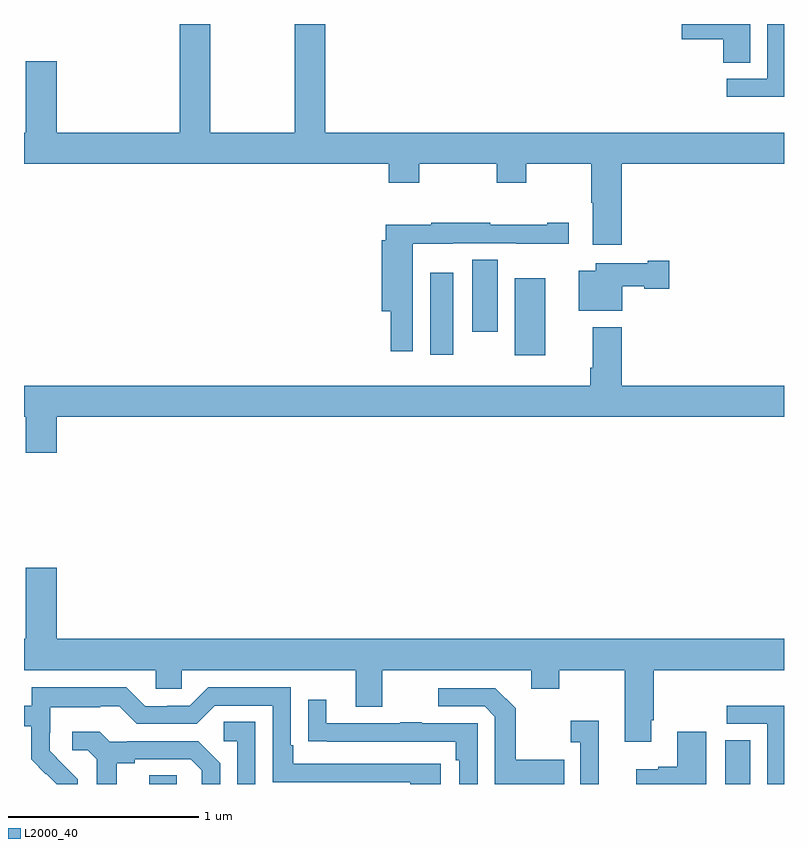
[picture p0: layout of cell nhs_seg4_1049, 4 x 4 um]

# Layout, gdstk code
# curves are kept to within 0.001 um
import gdstk
lib = gdstk.Library(unit=1e-6, precision=1e-09)
def R(c, l, rs):  # rectangles x0, y0, x1, y1
    for r in rs: c.add(gdstk.rectangle(r[:2], r[2:], *l))
def P(c, l, *ps):  # polygons
    for p in ps: c.add(gdstk.Polygon(p, *l))
L2000_40 = (2000, 40)

nhs_seg4_1049 = lib.new_cell('nhs_seg4_1049')
R(nhs_seg4_1049, L2000_40, [(165.659,782.9,165.804,782.945), (168.692,782.9,168.823,783.131), (167.582,785.157,167.743,785.563), (167.138,785.16,167.26,785.59), (167.36,785.28,167.494,785.66)])
P(nhs_seg4_1049, L2000_40, [(168.146,786.164),(169,786.164),(169,786.328),(166.586,786.328),(166.586,786.9),(166.426,786.9),(166.426,786.328),(165.981,786.328),(165.981,786.9),(165.821,786.9),(165.821,786.328),(165.172,786.328),(165.172,786.703),(165.008,786.703),(165.008,786.328),(165,786.328),(165,786.164),(166.919,786.164),(166.919,786.065),(167.079,786.065),(167.079,786.164),(167.488,786.164),(167.488,786.065),(167.643,786.065),(167.643,786.164),(167.986,786.164),(167.986,785.96),(167.993,785.96),(167.993,785.739),(168.146,785.739)],
  [(169,786.9),(168.912,786.9),(168.912,786.612),(168.699,786.612),(168.699,786.516),(169,786.516)],
  [(168.823,786.9),(168.462,786.9),(168.462,786.821),(168.68,786.821),(168.68,786.697),(168.823,786.697)],
  [(167.046,785.744),(167.256,785.744),(167.256,785.745),(167.59,785.745),(167.59,785.744),(167.866,785.744),(167.866,785.854),(167.753,785.854),(167.753,785.844),(167.453,785.844),(167.453,785.854),(167.143,785.854),(167.143,785.844),(166.904,785.844),(166.904,785.763),(166.883,785.763),(166.883,785.387),(166.93,785.387),(166.93,785.178),(167.046,785.178)],
  [(168.148,785.519),(168.264,785.519),(168.264,785.507),(168.397,785.507),(168.397,785.654),(168.284,785.654),(168.284,785.641),(168.008,785.641),(168.008,785.602),(167.921,785.602),(167.921,785.39),(168.148,785.39)],
  [(165.172,784.832),(169,784.832),(169,784.996),(168.146,784.996),(168.146,785.305),(167.993,785.305),(167.993,785.092),(167.981,785.092),(167.981,784.996),(165,784.996),(165,784.832),(165.008,784.832),(165.008,784.644),(165.172,784.644)],
  [(168.301,783.235),(168.314,783.235),(168.314,783.5),(169,783.5),(169,783.664),(165.172,783.664),(165.172,784.039),(165.008,784.039),(165.008,783.664),(165,783.664),(165,783.5),(165.693,783.5),(165.693,783.402),(165.831,783.402),(165.831,783.5),(166.745,783.5),(166.745,783.306),(166.885,783.306),(166.885,783.5),(167.669,783.5),(167.669,783.401),(167.817,783.401),(167.817,783.5),(168.161,783.5),(168.161,783.123),(168.301,783.123)],
  [(165.282,782.926),(165.136,783.074),(165.136,783.171),(165.138,783.171),(165.138,783.305),(165.401,783.305),(165.401,783.309),(165.501,783.309),(165.594,783.216),(165.909,783.216),(166.005,783.312),(166.308,783.312),(166.308,782.91),(167.033,782.91),(167.033,782.9),(167.194,782.9),(167.194,783.006),(166.417,783.006),(166.417,783.103),(166.404,783.103),(166.404,783.408),(165.969,783.408),(165.873,783.312),(165.755,783.312),(165.755,783.309),(165.639,783.309),(165.539,783.409),(165.042,783.409),(165.042,783.312),(165,783.312),(165,783.204),(165.037,783.204),(165.037,783.029),(165.114,782.952),(165.117,782.955),(165.173,782.9),(165.282,782.9)],
  [(167.843,783.027),(167.587,783.027),(167.587,783.299),(167.481,783.405),(167.181,783.405),(167.181,783.309),(167.424,783.309),(167.478,783.255),(167.478,782.9),(167.843,782.9)],
  [(167.388,783.219),(167.093,783.219),(167.093,783.224),(166.981,783.224),(166.981,783.219),(166.591,783.219),(166.591,783.343),(166.495,783.343),(166.495,783.124),(166.597,783.124),(166.597,783.123),(167.272,783.123),(167.272,783.026),(167.292,783.026),(167.292,782.9),(167.388,782.9)],
  [(169,783.312),(168.699,783.312),(168.699,783.216),(168.912,783.216),(168.912,782.9),(169,782.9)],
  [(168.026,783.232),(167.877,783.232),(167.877,783.119),(167.928,783.119),(167.928,782.9),(168.026,782.9)],
  [(166.218,783.227),(166.05,783.227),(166.05,783.126),(166.122,783.126),(166.122,782.9),(166.218,782.9)],
  [(168.592,783.175),(168.437,783.175),(168.437,782.99),(168.338,782.99),(168.338,782.977),(168.222,782.977),(168.222,782.9),(168.592,782.9)],
  [(165.487,783.008),(165.583,783.008),(165.583,783.03),(165.878,783.03),(165.935,782.973),(165.935,782.9),(166.032,782.9),(166.032,783.01),(165.916,783.126),(165.544,783.126),(165.544,783.123),(165.45,783.123),(165.398,783.175),(165.255,783.175),(165.255,783.078),(165.336,783.078),(165.383,783.031),(165.383,782.9),(165.487,782.9)])

lib.write_gds('nhs_seg4_1049.gds')
